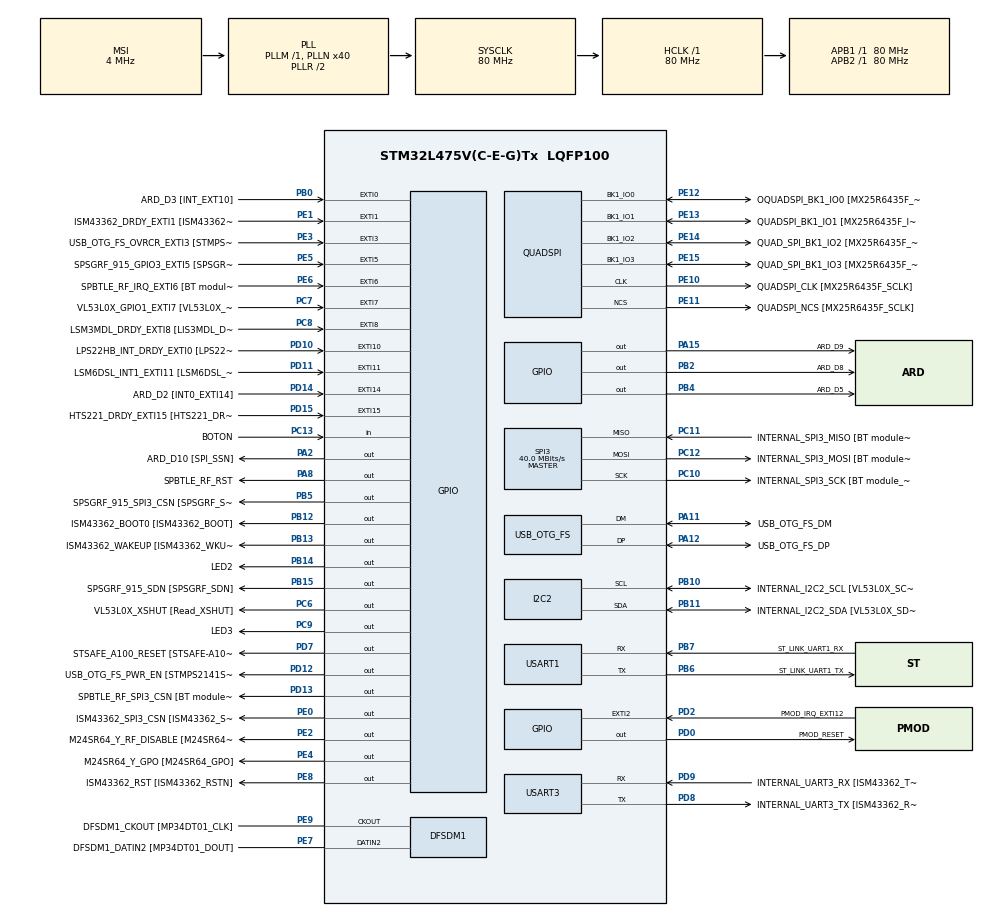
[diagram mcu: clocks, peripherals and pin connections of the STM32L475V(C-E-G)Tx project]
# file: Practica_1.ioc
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I2C2.Timing=0x10909CEC
Mcu.Family=STM32L4
Mcu.Name=STM32L475V(C-E-G)Tx
Mcu.Package=LQFP100
NVIC.EXTI9_5_IRQn=true\:0\:0\:false\:false\:true\:true\:true
NVIC.PriorityGroup=NVIC_PRIORITYGROUP_4
PA0.GPIO_Label=ARD_D1 [UART4_TX]
PA0.Signal=UART4_TX
PA1.GPIO_Label=ARD_D0 [UART4_RX]
PA1.Signal=UART4_RX
PA10.GPIO_Label=USB_OTG_FS_ID
PA10.Signal=USB_OTG_FS_ID
PA11.GPIO_Label=USB_OTG_FS_DM
PA11.Mode=Device_Only
PA11.Signal=USB_OTG_FS_DM
PA12.GPIO_Label=USB_OTG_FS_DP
PA12.Mode=Device_Only
PA12.Signal=USB_OTG_FS_DP
PA13\ (JTMS-SWDIO).GPIO_Label=SYS_JTMS_SWDIO
PA13\ (JTMS-SWDIO).Mode=Serial_Wire
PA13\ (JTMS-SWDIO).Signal=SYS_JTMS-SWDIO
PA14\ (JTCK-SWCLK).GPIO_Label=SYS_JTCK_SWCLK
PA14\ (JTCK-SWCLK).Mode=Serial_Wire
PA14\ (JTCK-SWCLK).Signal=SYS_JTCK-SWCLK
PA15\ (JTDI).GPIO_Label=ARD_D9
PA15\ (JTDI).Signal=GPIO_Output
PA2.GPIO_Label=ARD_D10 [SPI_SSN]
PA2.Signal=GPIO_Output
PA3.GPIO_Label=ARD_D4
PA3.Signal=S_TIM2_CH4
PA4.GPIO_Label=ARD_D7
PA4.Signal=ADCx_IN9
PA5.GPIO_Label=ARD_D13 [SPI1_SCK]
PA5.Signal=SPI1_SCK
PA6.GPIO_Label=ARD_D12 [SPI1_MISO]
PA6.Signal=SPI1_MISO
PA7.GPIO_Label=ARD_D11 [SPI1_MOSI]
PA7.Signal=SPI1_MOSI
PA8.GPIO_Label=SPBTLE_RF_RST
PA8.Signal=GPIO_Output
PA9.GPIO_Label=USB_OTG_FS_VBUS [STMPS2141STR_OUT]
PA9.Signal=USB_OTG_FS_VBUS
PB0.GPIO_Label=ARD_D3 [INT_EXT10]
PB0.Signal=GPXTI0
PB1.GPIO_Label=ARD_D6 [ADC1_IN6]
PB1.Signal=ADCx_IN16
PB10.GPIO_Label=INTERNAL_I2C2_SCL [VL53L0X_SCL]
PB10.Mode=I2C
PB10.Signal=I2C2_SCL
PB11.GPIO_Label=INTERNAL_I2C2_SDA [VL53L0X_SDA]
PB11.Mode=I2C
PB11.Signal=I2C2_SDA
PB12.GPIO_Label=ISM43362_BOOT0 [ISM43362_BOOT]
PB12.Signal=GPIO_Output
PB13.GPIO_Label=ISM43362_WAKEUP [ISM43362_WKUP]
PB13.Signal=GPIO_Output
PB14.GPIO_Label=LED2
PB14.Signal=GPIO_Output
PB15.GPIO_Label=SPSGRF_915_SDN [SPSGRF_SDN]
PB15.Signal=GPIO_Output
PB2.GPIO_Label=ARD_D8
PB2.Signal=GPIO_Output
PB3\ (JTDO-TRACESWO).GPIO_Label=SYS_JTD0_SWO
PB3\ (JTDO-TRACESWO).Signal=SYS_JTDO-SWO
PB4\ (NJTRST).GPIO_Label=ARD_D5
PB4\ (NJTRST).Signal=GPIO_Output
PB5.GPIO_Label=SPSGRF_915_SPI3_CSN [SPSGRF_SPI_CS]
PB5.PinState=GPIO_PIN_SET
PB5.Signal=GPIO_Output
PB6.GPIO_Label=ST_LINK_UART1_TX
PB6.Mode=Asynchronous
PB6.Signal=USART1_TX
PB7.GPIO_Label=ST_LINK_UART1_RX
PB7.Mode=Asynchronous
PB7.Signal=USART1_RX
PB8.GPIO_Label=ARD_D15 [I2C1_SCL]
PB8.Signal=I2C1_SCL
PB9.GPIO_Label=ARD_D14 [I2C1_SDA]
PB9.Signal=I2C1_SDA
PC0.GPIO_Label=ARD_A5 [ADC]
PC0.Signal=ADCx_IN1
PC1.GPIO_Label=ARD_A4 [ADC]
PC1.Signal=ADCx_IN2
PC10.GPIO_Label=INTERNAL_SPI3_SCK [BT module_SPI_SCLK] [ISM43362_SCK]
PC10.Mode=Full_Duplex_Master
PC10.Signal=SPI3_SCK
PC11.GPIO_Label=INTERNAL_SPI3_MISO [BT module_SPI_MISO] [ISM43362_MISO]
PC11.Mode=Full_Duplex_Master
PC11.Signal=SPI3_MISO
PC12.GPIO_Label=INTERNAL_SPI3_MOSI [BT module_SPI_MOSI] [ISM43362_MOSI]
PC12.Mode=Full_Duplex_Master
PC12.Signal=SPI3_MOSI
PC13.GPIO_Label=BOTON
PC13.Signal=GPIO_Input
PC14-OSC32_IN\ (PC14).Mode=LSE-External-Oscillator
PC14-OSC32_IN\ (PC14).Signal=RCC_OSC32_IN
PC15-OSC32_OUT\ (PC15).Mode=LSE-External-Oscillator
PC15-OSC32_OUT\ (PC15).Signal=RCC_OSC32_OUT
PC2.GPIO_Label=ARD_A3 [ADC]
PC2.Signal=ADCx_IN3
PC3.GPIO_Label=ARD_A2 [ADC]
PC3.Signal=ADCx_IN4
PC4.GPIO_Label=ARD_A1 [ADC]
PC4.Signal=ADCx_IN13
PC5.GPIO_Label=ARD_A0 [ADC]
PC5.Signal=ADCx_IN14
PC6.GPIO_Label=VL53L0X_XSHUT [Read_XSHUT]
PC6.Signal=GPIO_Output
PC7.GPIO_Label=VL53L0X_GPIO1_EXTI7 [VL53L0X_GPIO1]
PC7.Signal=GPXTI7
PC8.GPIO_Label=LSM3MDL_DRDY_EXTI8 [LIS3MDL_DRDY]
PC8.Signal=GPXTI8
PC9.GPIO_Label=LED3
PC9.Signal=GPIO_Output
PD0.GPIO_Label=PMOD_RESET
PD0.Signal=GPIO_Output
PD1.GPIO_Label=PMOD_SPI2_SCK
PD1.Signal=SPI2_SCK
PD10.GPIO_Label=LPS22HB_INT_DRDY_EXTI0 [LPS22HB_INT_DRDY] 
PD10.Signal=GPXTI10
PD11.GPIO_Label=LSM6DSL_INT1_EXTI11 [LSM6DSL_INT1]
PD11.Signal=GPXTI11
PD12.GPIO_Label=USB_OTG_FS_PWR_EN [STMPS2141STR_EN]
PD12.Signal=GPIO_Output
PD13.GPIO_Label=SPBTLE_RF_SPI3_CSN [BT module_SPI_CS]
PD13.PinState=GPIO_PIN_SET
PD13.Signal=GPIO_Output
PD14.GPIO_Label=ARD_D2 [INT0_EXTI14]
PD14.Signal=GPXTI14
PD15.GPIO_Label=HTS221_DRDY_EXTI15 [HTS221_DRDY]
PD15.Signal=GPXTI15
PD2.GPIO_Label=PMOD_IRQ_EXTI12
PD2.Signal=GPXTI2
PD3.GPIO_Label=PMOD_UART2_CTS
PD3.Signal=USART2_CTS
PD4.GPIO_Label=PMOD_UART2_RTS
PD4.Signal=USART2_RTS
PD5.GPIO_Label=PMOD_UART2_TX
PD5.Signal=USART2_TX
PD6.GPIO_Label=PMOD_UART2_RX
PD6.Signal=USART2_RX
PD7.GPIO_Label=STSAFE_A100_RESET [STSAFE-A100_RESET]
PD7.Signal=GPIO_Output
PD8.GPIO_Label=INTERNAL_UART3_TX [ISM43362_RX]
PD8.Mode=Asynchronous
PD8.Signal=USART3_TX
PD9.GPIO_Label=INTERNAL_UART3_RX [ISM43362_TX]
PD9.Mode=Asynchronous
PD9.Signal=USART3_RX
PE0.GPIO_Label=ISM43362_SPI3_CSN [ISM43362_SSN]
PE0.PinState=GPIO_PIN_SET
PE0.Signal=GPIO_Output
PE1.GPIO_Label=ISM43362_DRDY_EXTI1 [ISM43362_DATARDY]
PE1.Signal=GPXTI1
PE10.GPIO_Label=QUADSPI_CLK [MX25R6435F_SCLK]
PE10.Mode=Single Bank
PE10.Signal=QUADSPI_CLK
PE11.GPIO_Label=QUADSPI_NCS [MX25R6435F_SCLK]
PE11.Mode=Single Bank
PE11.Signal=QUADSPI_NCS
PE12.GPIO_Label=OQUADSPI_BK1_IO0 [MX25R6435F_IO0]
PE12.Mode=Single Bank
PE12.Signal=QUADSPI_BK1_IO0
PE13.GPIO_Label=QUADSPI_BK1_IO1 [MX25R6435F_IO1]
PE13.Mode=Single Bank
PE13.Signal=QUADSPI_BK1_IO1
PE14.GPIO_Label=QUAD_SPI_BK1_IO2 [MX25R6435F_IO2]
PE14.Mode=Single Bank
PE14.Signal=QUADSPI_BK1_IO2
PE15.GPIO_Label=QUAD_SPI_BK1_IO3 [MX25R6435F_IO3]
PE15.Mode=Single Bank
PE15.Signal=QUADSPI_BK1_IO3
PE2.GPIO_Label=M24SR64_Y_RF_DISABLE [M24SR64_RFDIS]
PE2.Signal=GPIO_Output
PE3.GPIO_Label=USB_OTG_FS_OVRCR_EXTI3 [STMPS2141STR_FAULT]
PE3.Signal=GPXTI3
PE4.GPIO_Label=M24SR64_Y_GPO [M24SR64_GPO]
PE4.Signal=GPIO_Output
PE5.GPIO_Label=SPSGRF_915_GPIO3_EXTI5 [SPSGRF_GPIO_3]
PE5.Signal=GPXTI5
PE6.GPIO_Label=SPBTLE_RF_IRQ_EXTI6 [BT module_SPI_IRQ]
PE6.Signal=GPXTI6
PE7.GPIO_Label=DFSDM1_DATIN2 [MP34DT01_DOUT]
PE7.Signal=S_DATAIN2DFSDM1
PE8.GPIO_Label=ISM43362_RST [ISM43362_RSTN]
PE8.Signal=GPIO_Output
PE9.GPIO_Label=DFSDM1_CKOUT [MP34DT01_CLK]
PE9.Signal=S_CKOUTDFSDM1
ProjectManager.HeapSize=0x200
ProjectManager.StackSize=0x400
ProjectManager.TargetToolchain=STM32CubeIDE
RCC.ADCFreq_Value=48000000
RCC.AHBFreq_Value=80000000
RCC.APB1Freq_Value=80000000
RCC.APB1TimFreq_Value=80000000
RCC.APB2Freq_Value=80000000
RCC.APB2TimFreq_Value=80000000
RCC.CortexFreq_Value=80000000
RCC.HCLKFreq_Value=80000000
RCC.HSE_VALUE=8000000
RCC.HSI_VALUE=16000000
RCC.MSI_VALUE=4000000
RCC.PLLN=40
RCC.PLLSAI1N=24
RCC.SYSCLKFreq_VALUE=80000000
RCC.SYSCLKSource=RCC_SYSCLKSOURCE_PLLCLK
RCC.USBFreq_Value=48000000
RCC.VCOOutputFreq_Value=160000000
SH.ADCx_IN1.0=ADC1_IN1
SH.ADCx_IN13.0=ADC1_IN13
SH.ADCx_IN14.0=ADC1_IN14
SH.ADCx_IN16.0=ADC1_IN16
SH.ADCx_IN2.0=ADC1_IN2
SH.ADCx_IN3.0=ADC1_IN3
SH.ADCx_IN4.0=ADC1_IN4
SH.ADCx_IN9.0=ADC1_IN9
SH.S_CKOUTDFSDM1.0=DFSDM1_CKOUT,CKOUT
SH.S_CKOUTDFSDM1.1=DFSDM1_CKOUT,PDM_SPI_Input_from_ch12_and_Internal_Clock
SH.S_DATAIN2DFSDM1.0=DFSDM1_DATIN2,PDM_SPI_Input_from_ch12_and_Internal_Clock
SH.S_TIM2_CH4.0=TIM2_CH4
SPI3.CalculateBaudRate=40.0 MBits/s
SPI3.Direction=SPI_DIRECTION_2LINES
SPI3.Mode=SPI_MODE_MASTER
SPI3.VirtualType=VM_MASTER
USART1.VirtualMode-Asynchronous=VM_ASYNC
USART3.VirtualMode-Asynchronous=VM_ASYNC
USB_OTG_FS.VirtualMode=Device_Only
board=B-L475E-IOT01A1

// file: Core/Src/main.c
/* USER CODE BEGIN Header */
/**
  ******************************************************************************
  * @file           : main.c
  * @brief          : Main program body
  ******************************************************************************
  * @attention
  *
  * <h2><center>&copy; Copyright (c) 2021 STMicroelectronics.
  * All rights reserved.</center></h2>
  *
  * This software component is licensed by ST under BSD 3-Clause license,
  * the "License"; You may not use this file except in compliance with the
  * License. You may obtain a copy of the License at:
  *                        opensource.org/licenses/BSD-3-Clause
  *
  ******************************************************************************
  */
/* USER CODE END Header */

#include "main.h"

/* USER CODE BEGIN Includes */
#include "led_driver.h"
#include "button_driver.h"
/* USER CODE END Includes */

DFSDM_Channel_HandleTypeDef hdfsdm1_channel1;

I2C_HandleTypeDef hi2c2;

QSPI_HandleTypeDef hqspi;

SPI_HandleTypeDef hspi3;

UART_HandleTypeDef huart1;
UART_HandleTypeDef huart3;

PCD_HandleTypeDef hpcd_USB_OTG_FS;

void SystemClock_Config(void);
static void MX_GPIO_Init(void);
static void MX_DFSDM1_Init(void);
static void MX_I2C2_Init(void);
static void MX_QUADSPI_Init(void);
static void MX_SPI3_Init(void);
static void MX_USART1_UART_Init(void);
static void MX_USART3_UART_Init(void);
static void MX_USB_OTG_FS_PCD_Init(void);

int main(void)
{

  /* MCU Configuration--------------------------------------------------------*/

  /* Reset of all peripherals, Initializes the Flash interface and the Systick. */
  HAL_Init();

  /* Configure the system clock */
  SystemClock_Config();

  /* Initialize all configured peripherals */
  MX_GPIO_Init();
  MX_DFSDM1_Init();
  MX_I2C2_Init();
  MX_QUADSPI_Init();
  MX_SPI3_Init();
  MX_USART1_UART_Init();
  MX_USART3_UART_Init();
  MX_USB_OTG_FS_PCD_Init();

  /* Infinite loop */
  /* USER CODE BEGIN WHILE */
  while (1)
  {
	  uint8_t button = ReadButton();
	  switch (button){
	  case 0:
		  HAL_GPIO_WritePin(LED2_GPIO_Port, LED2_Pin, RESET);
		  HAL_GPIO_WritePin(LED3_GPIO_Port, LED3_Pin, RESET);
		  break;
	  case 1:
		  animation1();
		  break;
	  case 2:
		  animation2();
		  break;
	  case 3:
		  animation3();
		  break;
	  }
    /* USER CODE END WHILE */

  }
}

void SystemClock_Config(void)
{
  RCC_OscInitTypeDef RCC_OscInitStruct = {0};
  RCC_ClkInitTypeDef RCC_ClkInitStruct = {0};
  RCC_PeriphCLKInitTypeDef PeriphClkInit = {0};

  /** Configure LSE Drive Capability
  */
  HAL_PWR_EnableBkUpAccess();
  __HAL_RCC_LSEDRIVE_CONFIG(RCC_LSEDRIVE_LOW);
  /** Initializes the CPU, AHB and APB busses clocks
  */
  RCC_OscInitStruct.OscillatorType = RCC_OSCILLATORTYPE_LSE|RCC_OSCILLATORTYPE_MSI;
  RCC_OscInitStruct.LSEState = RCC_LSE_ON;
  RCC_OscInitStruct.MSIState = RCC_MSI_ON;
  RCC_OscInitStruct.MSICalibrationValue = 0;
  RCC_OscInitStruct.MSIClockRange = RCC_MSIRANGE_6;
  RCC_OscInitStruct.PLL.PLLState = RCC_PLL_ON;
  RCC_OscInitStruct.PLL.PLLSource = RCC_PLLSOURCE_MSI;
  RCC_OscInitStruct.PLL.PLLM = 1;
  RCC_OscInitStruct.PLL.PLLN = 40;
  RCC_OscInitStruct.PLL.PLLP = RCC_PLLP_DIV7;
  RCC_OscInitStruct.PLL.PLLQ = RCC_PLLQ_DIV2;
  RCC_OscInitStruct.PLL.PLLR = RCC_PLLR_DIV2;
  if (HAL_RCC_OscConfig(&RCC_OscInitStruct) != HAL_OK)
  {
    Error_Handler();
  }
  /** Initializes the CPU, AHB and APB busses clocks
  */
  RCC_ClkInitStruct.ClockType = RCC_CLOCKTYPE_HCLK|RCC_CLOCKTYPE_SYSCLK
                              |RCC_CLOCKTYPE_PCLK1|RCC_CLOCKTYPE_PCLK2;
  RCC_ClkInitStruct.SYSCLKSource = RCC_SYSCLKSOURCE_PLLCLK;
  RCC_ClkInitStruct.AHBCLKDivider = RCC_SYSCLK_DIV1;
  RCC_ClkInitStruct.APB1CLKDivider = RCC_HCLK_DIV1;
  RCC_ClkInitStruct.APB2CLKDivider = RCC_HCLK_DIV1;

  if (HAL_RCC_ClockConfig(&RCC_ClkInitStruct, FLASH_LATENCY_4) != HAL_OK)
  {
    Error_Handler();
  }
  PeriphClkInit.PeriphClockSelection = RCC_PERIPHCLK_USART1|RCC_PERIPHCLK_USART3
                              |RCC_PERIPHCLK_I2C2|RCC_PERIPHCLK_DFSDM1
                              |RCC_PERIPHCLK_USB;
  PeriphClkInit.Usart1ClockSelection = RCC_USART1CLKSOURCE_PCLK2;
  PeriphClkInit.Usart3ClockSelection = RCC_USART3CLKSOURCE_PCLK1;
  PeriphClkInit.I2c2ClockSelection = RCC_I2C2CLKSOURCE_PCLK1;
  PeriphClkInit.Dfsdm1ClockSelection = RCC_DFSDM1CLKSOURCE_PCLK;
  PeriphClkInit.UsbClockSelection = RCC_USBCLKSOURCE_PLLSAI1;
  PeriphClkInit.PLLSAI1.PLLSAI1Source = RCC_PLLSOURCE_MSI;
  PeriphClkInit.PLLSAI1.PLLSAI1M = 1;
  PeriphClkInit.PLLSAI1.PLLSAI1N = 24;
  PeriphClkInit.PLLSAI1.PLLSAI1P = RCC_PLLP_DIV7;
  PeriphClkInit.PLLSAI1.PLLSAI1Q = RCC_PLLQ_DIV2;
  PeriphClkInit.PLLSAI1.PLLSAI1R = RCC_PLLR_DIV2;
  PeriphClkInit.PLLSAI1.PLLSAI1ClockOut = RCC_PLLSAI1_48M2CLK;
  if (HAL_RCCEx_PeriphCLKConfig(&PeriphClkInit) != HAL_OK)
  {
    Error_Handler();
  }
  /** Configure the main internal regulator output voltage
  */
  if (HAL_PWREx_ControlVoltageScaling(PWR_REGULATOR_VOLTAGE_SCALE1) != HAL_OK)
  {
    Error_Handler();
  }
  /** Enable MSI Auto calibration
  */
  HAL_RCCEx_EnableMSIPLLMode();
}

static void MX_DFSDM1_Init(void)
{

  hdfsdm1_channel1.Instance = DFSDM1_Channel1;
  hdfsdm1_channel1.Init.OutputClock.Activation = ENABLE;
  hdfsdm1_channel1.Init.OutputClock.Selection = DFSDM_CHANNEL_OUTPUT_CLOCK_SYSTEM;
  hdfsdm1_channel1.Init.OutputClock.Divider = 2;
  hdfsdm1_channel1.Init.Input.Multiplexer = DFSDM_CHANNEL_EXTERNAL_INPUTS;
  hdfsdm1_channel1.Init.Input.DataPacking = DFSDM_CHANNEL_STANDARD_MODE;
  hdfsdm1_channel1.Init.Input.Pins = DFSDM_CHANNEL_FOLLOWING_CHANNEL_PINS;
  hdfsdm1_channel1.Init.SerialInterface.Type = DFSDM_CHANNEL_SPI_RISING;
  hdfsdm1_channel1.Init.SerialInterface.SpiClock = DFSDM_CHANNEL_SPI_CLOCK_INTERNAL;
  hdfsdm1_channel1.Init.Awd.FilterOrder = DFSDM_CHANNEL_FASTSINC_ORDER;
  hdfsdm1_channel1.Init.Awd.Oversampling = 1;
  hdfsdm1_channel1.Init.Offset = 0;
  hdfsdm1_channel1.Init.RightBitShift = 0x00;
  if (HAL_DFSDM_ChannelInit(&hdfsdm1_channel1) != HAL_OK)
  {
    Error_Handler();
  }

}

static void MX_I2C2_Init(void)
{

  hi2c2.Instance = I2C2;
  hi2c2.Init.Timing = 0x10909CEC;
  hi2c2.Init.OwnAddress1 = 0;
  hi2c2.Init.AddressingMode = I2C_ADDRESSINGMODE_7BIT;
  hi2c2.Init.DualAddressMode = I2C_DUALADDRESS_DISABLE;
  hi2c2.Init.OwnAddress2 = 0;
  hi2c2.Init.OwnAddress2Masks = I2C_OA2_NOMASK;
  hi2c2.Init.GeneralCallMode = I2C_GENERALCALL_DISABLE;
  hi2c2.Init.NoStretchMode = I2C_NOSTRETCH_DISABLE;
  if (HAL_I2C_Init(&hi2c2) != HAL_OK)
  {
    Error_Handler();
  }
  /** Configure Analogue filter
  */
  if (HAL_I2CEx_ConfigAnalogFilter(&hi2c2, I2C_ANALOGFILTER_ENABLE) != HAL_OK)
  {
    Error_Handler();
  }
  /** Configure Digital filter
  */
  if (HAL_I2CEx_ConfigDigitalFilter(&hi2c2, 0) != HAL_OK)
  {
    Error_Handler();
  }

}

static void MX_QUADSPI_Init(void)
{

  /* QUADSPI parameter configuration*/
  hqspi.Instance = QUADSPI;
  hqspi.Init.ClockPrescaler = 255;
  hqspi.Init.FifoThreshold = 1;
  hqspi.Init.SampleShifting = QSPI_SAMPLE_SHIFTING_NONE;
  hqspi.Init.FlashSize = 1;
  hqspi.Init.ChipSelectHighTime = QSPI_CS_HIGH_TIME_1_CYCLE;
  hqspi.Init.ClockMode = QSPI_CLOCK_MODE_0;
  if (HAL_QSPI_Init(&hqspi) != HAL_OK)
  {
    Error_Handler();
  }

}

static void MX_SPI3_Init(void)
{

  /* SPI3 parameter configuration*/
  hspi3.Instance = SPI3;
  hspi3.Init.Mode = SPI_MODE_MASTER;
  hspi3.Init.Direction = SPI_DIRECTION_2LINES;
  hspi3.Init.DataSize = SPI_DATASIZE_4BIT;
  hspi3.Init.CLKPolarity = SPI_POLARITY_LOW;
  hspi3.Init.CLKPhase = SPI_PHASE_1EDGE;
  hspi3.Init.NSS = SPI_NSS_SOFT;
  hspi3.Init.BaudRatePrescaler = SPI_BAUDRATEPRESCALER_2;
  hspi3.Init.FirstBit = SPI_FIRSTBIT_MSB;
  hspi3.Init.TIMode = SPI_TIMODE_DISABLE;
  hspi3.Init.CRCCalculation = SPI_CRCCALCULATION_DISABLE;
  hspi3.Init.CRCPolynomial = 7;
  hspi3.Init.CRCLength = SPI_CRC_LENGTH_DATASIZE;
  hspi3.Init.NSSPMode = SPI_NSS_PULSE_ENABLE;
  if (HAL_SPI_Init(&hspi3) != HAL_OK)
  {
    Error_Handler();
  }

}

static void MX_USART1_UART_Init(void)
{

  huart1.Instance = USART1;
  huart1.Init.BaudRate = 115200;
  huart1.Init.WordLength = UART_WORDLENGTH_8B;
  huart1.Init.StopBits = UART_STOPBITS_1;
  huart1.Init.Parity = UART_PARITY_NONE;
  huart1.Init.Mode = UART_MODE_TX_RX;
  huart1.Init.HwFlowCtl = UART_HWCONTROL_NONE;
  huart1.Init.OverSampling = UART_OVERSAMPLING_16;
  huart1.Init.OneBitSampling = UART_ONE_BIT_SAMPLE_DISABLE;
  huart1.AdvancedInit.AdvFeatureInit = UART_ADVFEATURE_NO_INIT;
  if (HAL_UART_Init(&huart1) != HAL_OK)
  {
    Error_Handler();
  }

}

static void MX_USART3_UART_Init(void)
{

  huart3.Instance = USART3;
  huart3.Init.BaudRate = 115200;
  huart3.Init.WordLength = UART_WORDLENGTH_8B;
  huart3.Init.StopBits = UART_STOPBITS_1;
  huart3.Init.Parity = UART_PARITY_NONE;
  huart3.Init.Mode = UART_MODE_TX_RX;
  huart3.Init.HwFlowCtl = UART_HWCONTROL_NONE;
  huart3.Init.OverSampling = UART_OVERSAMPLING_16;
  huart3.Init.OneBitSampling = UART_ONE_BIT_SAMPLE_DISABLE;
  huart3.AdvancedInit.AdvFeatureInit = UART_ADVFEATURE_NO_INIT;
  if (HAL_UART_Init(&huart3) != HAL_OK)
  {
    Error_Handler();
  }

}

static void MX_USB_OTG_FS_PCD_Init(void)
{

  hpcd_USB_OTG_FS.Instance = USB_OTG_FS;
  hpcd_USB_OTG_FS.Init.dev_endpoints = 6;
  hpcd_USB_OTG_FS.Init.speed = PCD_SPEED_FULL;
  hpcd_USB_OTG_FS.Init.phy_itface = PCD_PHY_EMBEDDED;
  hpcd_USB_OTG_FS.Init.Sof_enable = DISABLE;
  hpcd_USB_OTG_FS.Init.low_power_enable = DISABLE;
  hpcd_USB_OTG_FS.Init.lpm_enable = DISABLE;
  hpcd_USB_OTG_FS.Init.battery_charging_enable = DISABLE;
  hpcd_USB_OTG_FS.Init.use_dedicated_ep1 = DISABLE;
  hpcd_USB_OTG_FS.Init.vbus_sensing_enable = DISABLE;
  if (HAL_PCD_Init(&hpcd_USB_OTG_FS) != HAL_OK)
  {
    Error_Handler();
  }

}

static void MX_GPIO_Init(void)
{
  GPIO_InitTypeDef GPIO_InitStruct = {0};

  /* GPIO Ports Clock Enable */
  __HAL_RCC_GPIOE_CLK_ENABLE();
  __HAL_RCC_GPIOC_CLK_ENABLE();
  __HAL_RCC_GPIOA_CLK_ENABLE();
  __HAL_RCC_GPIOB_CLK_ENABLE();
  __HAL_RCC_GPIOD_CLK_ENABLE();

  /*Configure GPIO pin Output Level */
  HAL_GPIO_WritePin(GPIOE, M24SR64_Y_RF_DISABLE_Pin|M24SR64_Y_GPO_Pin|ISM43362_RST_Pin, GPIO_PIN_RESET);

  /*Configure GPIO pin Output Level */
  HAL_GPIO_WritePin(GPIOA, ARD_D10_Pin|SPBTLE_RF_RST_Pin|ARD_D9_Pin, GPIO_PIN_RESET);

  /*Configure GPIO pin Output Level */
  HAL_GPIO_WritePin(GPIOB, ARD_D8_Pin|ISM43362_BOOT0_Pin|ISM43362_WAKEUP_Pin|LED2_Pin
                          |SPSGRF_915_SDN_Pin|ARD_D5_Pin, GPIO_PIN_RESET);

  /*Configure GPIO pin Output Level */
  HAL_GPIO_WritePin(GPIOD, USB_OTG_FS_PWR_EN_Pin|PMOD_RESET_Pin|STSAFE_A100_RESET_Pin, GPIO_PIN_RESET);

  /*Configure GPIO pin Output Level */
  HAL_GPIO_WritePin(SPBTLE_RF_SPI3_CSN_GPIO_Port, SPBTLE_RF_SPI3_CSN_Pin, GPIO_PIN_SET);

  /*Configure GPIO pin Output Level */
  HAL_GPIO_WritePin(GPIOC, VL53L0X_XSHUT_Pin|LED3_Pin, GPIO_PIN_RESET);

  /*Configure GPIO pin Output Level */
  HAL_GPIO_WritePin(SPSGRF_915_SPI3_CSN_GPIO_Port, SPSGRF_915_SPI3_CSN_Pin, GPIO_PIN_SET);

  /*Configure GPIO pin Output Level */
  HAL_GPIO_WritePin(ISM43362_SPI3_CSN_GPIO_Port, ISM43362_SPI3_CSN_Pin, GPIO_PIN_SET);

  /*Configure GPIO pins : M24SR64_Y_RF_DISABLE_Pin M24SR64_Y_GPO_Pin ISM43362_RST_Pin ISM43362_SPI3_CSN_Pin */
  GPIO_InitStruct.Pin = M24SR64_Y_RF_DISABLE_Pin|M24SR64_Y_GPO_Pin|ISM43362_RST_Pin|ISM43362_SPI3_CSN_Pin;
  GPIO_InitStruct.Mode = GPIO_MODE_OUTPUT_PP;
  GPIO_InitStruct.Pull = GPIO_NOPULL;
  GPIO_InitStruct.Speed = GPIO_SPEED_FREQ_LOW;
  HAL_GPIO_Init(GPIOE, &GPIO_InitStruct);

  /*Configure GPIO pins : USB_OTG_FS_OVRCR_EXTI3_Pin SPSGRF_915_GPIO3_EXTI5_Pin SPBTLE_RF_IRQ_EXTI6_Pin ISM43362_DRDY_EXTI1_Pin */
  GPIO_InitStruct.Pin = USB_OTG_FS_OVRCR_EXTI3_Pin|SPSGRF_915_GPIO3_EXTI5_Pin|SPBTLE_RF_IRQ_EXTI6_Pin|ISM43362_DRDY_EXTI1_Pin;
  GPIO_InitStruct.Mode = GPIO_MODE_IT_RISING;
  GPIO_InitStruct.Pull = GPIO_NOPULL;
  HAL_GPIO_Init(GPIOE, &GPIO_InitStruct);

  /*Configure GPIO pin : BOTON_Pin */
  GPIO_InitStruct.Pin = BOTON_Pin;
  GPIO_InitStruct.Mode = GPIO_MODE_INPUT;
  GPIO_InitStruct.Pull = GPIO_NOPULL;
  HAL_GPIO_Init(BOTON_GPIO_Port, &GPIO_InitStruct);

  /*Configure GPIO pins : ARD_A5_Pin ARD_A4_Pin ARD_A3_Pin ARD_A2_Pin
                           ARD_A1_Pin ARD_A0_Pin */
  GPIO_InitStruct.Pin = ARD_A5_Pin|ARD_A4_Pin|ARD_A3_Pin|ARD_A2_Pin
                          |ARD_A1_Pin|ARD_A0_Pin;
  GPIO_InitStruct.Mode = GPIO_MODE_ANALOG_ADC_CONTROL;
  GPIO_InitStruct.Pull = GPIO_NOPULL;
  HAL_GPIO_Init(GPIOC, &GPIO_InitStruct);

  /*Configure GPIO pins : ARD_D1_Pin ARD_D0_Pin */
  GPIO_InitStruct.Pin = ARD_D1_Pin|ARD_D0_Pin;
  GPIO_InitStruct.Mode = GPIO_MODE_AF_PP;
  GPIO_InitStruct.Pull = GPIO_NOPULL;
  GPIO_InitStruct.Speed = GPIO_SPEED_FREQ_VERY_HIGH;
  GPIO_InitStruct.Alternate = GPIO_AF8_UART4;
  HAL_GPIO_Init(GPIOA, &GPIO_InitStruct);

  /*Configure GPIO pins : ARD_D10_Pin SPBTLE_RF_RST_Pin ARD_D9_Pin */
  GPIO_InitStruct.Pin = ARD_D10_Pin|SPBTLE_RF_RST_Pin|ARD_D9_Pin;
  GPIO_InitStruct.Mode = GPIO_MODE_OUTPUT_PP;
  GPIO_InitStruct.Pull = GPIO_NOPULL;
  GPIO_InitStruct.Speed = GPIO_SPEED_FREQ_LOW;
  HAL_GPIO_Init(GPIOA, &GPIO_InitStruct);

  /*Configure GPIO pin : ARD_D4_Pin */
  GPIO_InitStruct.Pin = ARD_D4_Pin;
  GPIO_InitStruct.Mode = GPIO_MODE_AF_PP;
  GPIO_InitStruct.Pull = GPIO_NOPULL;
  GPIO_InitStruct.Speed = GPIO_SPEED_FREQ_LOW;
  GPIO_InitStruct.Alternate = GPIO_AF1_TIM2;
  HAL_GPIO_Init(ARD_D4_GPIO_Port, &GPIO_InitStruct);

  /*Configure GPIO pin : ARD_D7_Pin */
  GPIO_InitStruct.Pin = ARD_D7_Pin;
  GPIO_InitStruct.Mode = GPIO_MODE_ANALOG_ADC_CONTROL;
  GPIO_InitStruct.Pull = GPIO_NOPULL;
  HAL_GPIO_Init(ARD_D7_GPIO_Port, &GPIO_InitStruct);

  /*Configure GPIO pins : ARD_D13_Pin ARD_D12_Pin ARD_D11_Pin */
  GPIO_InitStruct.Pin = ARD_D13_Pin|ARD_D12_Pin|ARD_D11_Pin;
  GPIO_InitStruct.Mode = GPIO_MODE_AF_PP;
  GPIO_InitStruct.Pull = GPIO_NOPULL;
  GPIO_InitStruct.Speed = GPIO_SPEED_FREQ_VERY_HIGH;
  GPIO_InitStruct.Alternate = GPIO_AF5_SPI1;
  HAL_GPIO_Init(GPIOA, &GPIO_InitStruct);

  /*Configure GPIO pin : ARD_D3_Pin */
  GPIO_InitStruct.Pin = ARD_D3_Pin;
  GPIO_InitStruct.Mode = GPIO_MODE_IT_RISING;
  GPIO_InitStruct.Pull = GPIO_NOPULL;
  HAL_GPIO_Init(ARD_D3_GPIO_Port, &GPIO_InitStruct);

  /*Configure GPIO pin : ARD_D6_Pin */
  GPIO_InitStruct.Pin = ARD_D6_Pin;
  GPIO_InitStruct.Mode = GPIO_MODE_ANALOG_ADC_CONTROL;
  GPIO_InitStruct.Pull = GPIO_NOPULL;
  HAL_GPIO_Init(ARD_D6_GPIO_Port, &GPIO_InitStruct);

  /*Configure GPIO pins : ARD_D8_Pin ISM43362_BOOT0_Pin ISM43362_WAKEUP_Pin LED2_Pin
                           SPSGRF_915_SDN_Pin ARD_D5_Pin SPSGRF_915_SPI3_CSN_Pin */
  GPIO_InitStruct.Pin = ARD_D8_Pin|ISM43362_BOOT0_Pin|ISM43362_WAKEUP_Pin|LED2_Pin
                          |SPSGRF_915_SDN_Pin|ARD_D5_Pin|SPSGRF_915_SPI3_CSN_Pin;
  GPIO_InitStruct.Mode = GPIO_MODE_OUTPUT_PP;
  GPIO_InitStruct.Pull = GPIO_NOPULL;
  GPIO_InitStruct.Speed = GPIO_SPEED_FREQ_LOW;
  HAL_GPIO_Init(GPIOB, &GPIO_InitStruct);

  /*Configure GPIO pins : LPS22HB_INT_DRDY_EXTI0_Pin LSM6DSL_INT1_EXTI11_Pin ARD_D2_Pin HTS221_DRDY_EXTI15_Pin
                           PMOD_IRQ_EXTI12_Pin */
  GPIO_InitStruct.Pin = LPS22HB_INT_DRDY_EXTI0_Pin|LSM6DSL_INT1_EXTI11_Pin|ARD_D2_Pin|HTS221_DRDY_EXTI15_Pin
                          |PMOD_IRQ_EXTI12_Pin;
  GPIO_InitStruct.Mode = GPIO_MODE_IT_RISING;
  GPIO_InitStruct.Pull = GPIO_NOPULL;
  HAL_GPIO_Init(GPIOD, &GPIO_InitStruct);

  /*Configure GPIO pins : USB_OTG_FS_PWR_EN_Pin SPBTLE_RF_SPI3_CSN_Pin PMOD_RESET_Pin STSAFE_A100_RESET_Pin */
  GPIO_InitStruct.Pin = USB_OTG_FS_PWR_EN_Pin|SPBTLE_RF_SPI3_CSN_Pin|PMOD_RESET_Pin|STSAFE_A100_RESET_Pin;
  GPIO_InitStruct.Mode = GPIO_MODE_OUTPUT_PP;
  GPIO_InitStruct.Pull = GPIO_NOPULL;
  GPIO_InitStruct.Speed = GPIO_SPEED_FREQ_LOW;
  HAL_GPIO_Init(GPIOD, &GPIO_InitStruct);

  /*Configure GPIO pins : VL53L0X_XSHUT_Pin LED3_Pin */
  GPIO_InitStruct.Pin = VL53L0X_XSHUT_Pin|LED3_Pin;
  GPIO_InitStruct.Mode = GPIO_MODE_OUTPUT_PP;
  GPIO_InitStruct.Pull = GPIO_NOPULL;
  GPIO_InitStruct.Speed = GPIO_SPEED_FREQ_LOW;
  HAL_GPIO_Init(GPIOC, &GPIO_InitStruct);

  /*Configure GPIO pins : VL53L0X_GPIO1_EXTI7_Pin LSM3MDL_DRDY_EXTI8_Pin */
  GPIO_InitStruct.Pin = VL53L0X_GPIO1_EXTI7_Pin|LSM3MDL_DRDY_EXTI8_Pin;
  GPIO_InitStruct.Mode = GPIO_MODE_IT_RISING;
  GPIO_InitStruct.Pull = GPIO_NOPULL;
  HAL_GPIO_Init(GPIOC, &GPIO_InitStruct);

  /*Configure GPIO pin : PMOD_SPI2_SCK_Pin */
  GPIO_InitStruct.Pin = PMOD_SPI2_SCK_Pin;
  GPIO_InitStruct.Mode = GPIO_MODE_AF_PP;
  GPIO_InitStruct.Pull = GPIO_NOPULL;
  GPIO_InitStruct.Speed = GPIO_SPEED_FREQ_VERY_HIGH;
  GPIO_InitStruct.Alternate = GPIO_AF5_SPI2;
  HAL_GPIO_Init(PMOD_SPI2_SCK_GPIO_Port, &GPIO_InitStruct);

  /*Configure GPIO pins : PMOD_UART2_CTS_Pin PMOD_UART2_RTS_Pin PMOD_UART2_TX_Pin PMOD_UART2_RX_Pin */
  GPIO_InitStruct.Pin = PMOD_UART2_CTS_Pin|PMOD_UART2_RTS_Pin|PMOD_UART2_TX_Pin|PMOD_UART2_RX_Pin;
  GPIO_InitStruct.Mode = GPIO_MODE_AF_PP;
  GPIO_InitStruct.Pull = GPIO_NOPULL;
  GPIO_InitStruct.Speed = GPIO_SPEED_FREQ_VERY_HIGH;
  GPIO_InitStruct.Alternate = GPIO_AF7_USART2;
  HAL_GPIO_Init(GPIOD, &GPIO_InitStruct);

  /*Configure GPIO pins : ARD_D15_Pin ARD_D14_Pin */
  GPIO_InitStruct.Pin = ARD_D15_Pin|ARD_D14_Pin;
  GPIO_InitStruct.Mode = GPIO_MODE_AF_OD;
  GPIO_InitStruct.Pull = GPIO_PULLUP;
  GPIO_InitStruct.Speed = GPIO_SPEED_FREQ_VERY_HIGH;
  GPIO_InitStruct.Alternate = GPIO_AF4_I2C1;
  HAL_GPIO_Init(GPIOB, &GPIO_InitStruct);

  /* EXTI interrupt init*/
  HAL_NVIC_SetPriority(EXTI9_5_IRQn, 0, 0);
  HAL_NVIC_EnableIRQ(EXTI9_5_IRQn);

}

void Error_Handler(void)
{
}

/************************ (C) COPYRIGHT STMicroelectronics *****END OF FILE****/
